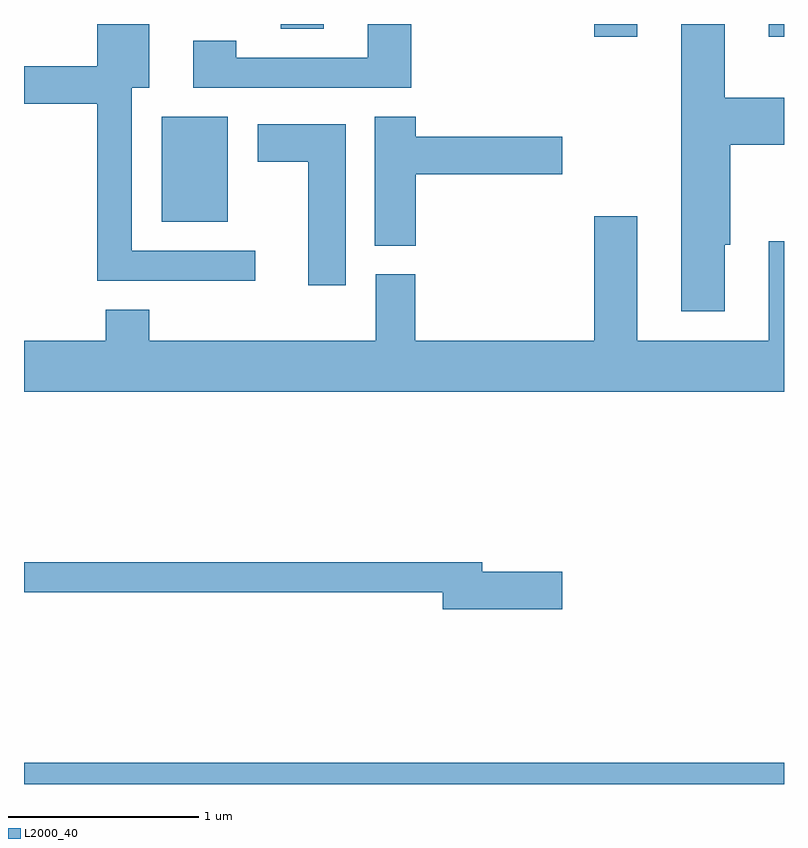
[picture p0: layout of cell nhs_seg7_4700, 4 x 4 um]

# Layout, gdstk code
import gdstk
lib = gdstk.Library(unit=1e-6, precision=1e-09)
def R(c, l, rs):  # rectangles x0, y0, x1, y1
    for r in rs: c.add(gdstk.rectangle(r[:2], r[2:], *l))
def P(c, l, *ps):  # polygons
    for p in ps: c.add(gdstk.Polygon(p, *l))
L2000_40 = (2000, 40)

nhs_seg7_4700 = lib.new_cell('nhs_seg7_4700')
R(nhs_seg7_4700, L2000_40, [(329.611,1712.252,333.611,1712.364), (330.336,1715.211,330.684,1715.764), (332.611,1716.186,332.839,1716.252), (333.531,1716.186,333.611,1716.252), (330.961,1716.226,331.189,1716.252)])
P(nhs_seg7_4700, L2000_40, [(331.649,1716.252),(331.421,1716.252),(331.421,1716.074),(330.729,1716.074),(330.729,1716.164),(330.501,1716.164),(330.501,1715.916),(331.649,1715.916)],
  [(330.828,1715.059),(330.179,1715.059),(330.179,1715.916),(330.269,1715.916),(330.269,1716.252),(329.996,1716.252),(329.996,1716.029),(329.611,1716.029),(329.611,1715.831),(329.996,1715.831),(329.996,1714.901),(330.828,1714.901)],
  [(333.299,1715.091),(333.329,1715.091),(333.329,1715.616),(333.611,1715.616),(333.611,1715.864),(333.299,1715.864),(333.299,1716.252),(333.071,1716.252),(333.071,1714.741),(333.299,1714.741)],
  [(331.674,1715.461),(332.444,1715.461),(332.444,1715.659),(331.674,1715.659),(331.674,1715.764),(331.456,1715.764),(331.456,1715.086),(331.674,1715.086)],
  [(331.304,1715.724),(330.841,1715.724),(330.841,1715.526),(331.106,1715.526),(331.106,1714.876),(331.304,1714.876)],
  [(333.611,1715.109),(333.531,1715.109),(333.531,1714.584),(332.839,1714.584),(332.839,1715.239),(332.611,1715.239),(332.611,1714.584),(331.669,1714.584),(331.669,1714.934),(331.461,1714.934),(331.461,1714.584),(330.269,1714.584),(330.269,1714.749),(330.041,1714.749),(330.041,1714.584),(329.611,1714.584),(329.611,1714.316),(333.611,1714.316)],
  [(332.444,1713.369),(332.024,1713.369),(332.024,1713.419),(329.611,1713.419),(329.611,1713.261),(331.816,1713.261),(331.816,1713.171),(332.444,1713.171)])

lib.write_gds('nhs_seg7_4700.gds')
